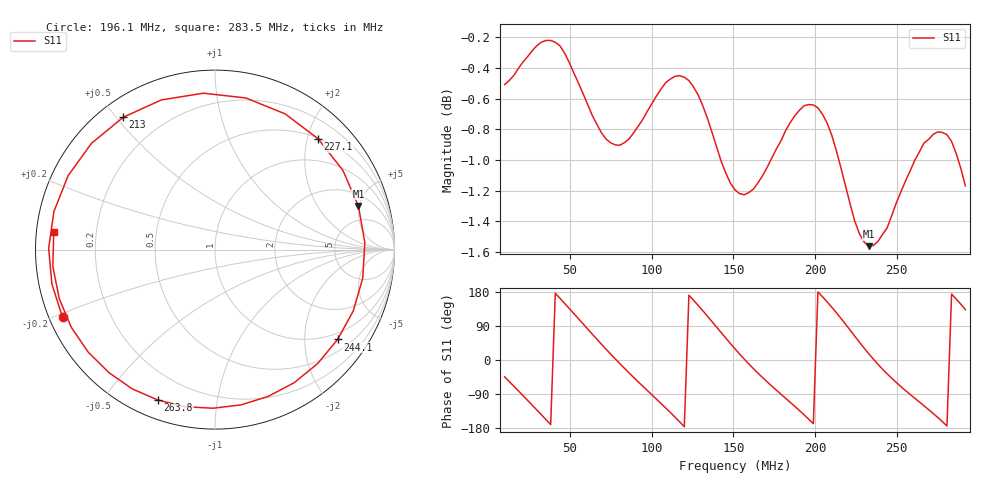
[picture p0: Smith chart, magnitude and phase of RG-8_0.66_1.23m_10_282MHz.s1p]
! File created by NanoVNA (https://gen111.taobao.com/)
! Start 10000000Hz  Stop 292000000Hz  Points 101
# HZ S MA R 50
!S - Parameter data, F S11
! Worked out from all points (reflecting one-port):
!   101 points, 10 MHz to 292 MHz, reference 50 ohm
!   lowest |S11| = -1.6 dB at 232.8 MHz (marker M1), VSWR 11.15, Z = 152 + j245 ohm
!   phase of S11 starts at -44 deg and turns -1263 deg over the sweep
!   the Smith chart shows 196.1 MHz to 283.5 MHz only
!   S11 on the Smith chart (normalised r, x): 196.1 MHz: 0.04, -0.21; 213 MHz: 0.07, +0.52; 227.1 MHz: 0.51, +2.20; 244.1 MHz: 0.81, -2.85; 263.8 MHz: 0.08, -0.69; 283.5 MHz: 0.05, +0.05
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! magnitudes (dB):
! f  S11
! 10 MHz  -0.5
! 32.56 MHz  -0.2
! 41.02 MHz  -0.2
! 46.66 MHz  -0.3
! 69.22 MHz  -0.8
! 80.5 MHz  -0.9
! 88.96 MHz  -0.8
! 108.7 MHz  -0.5
! 117.2 MHz  -0.5
! 122.8 MHz  -0.5
! 128.4 MHz  -0.6
! 142.5 MHz  -1.0
! 151 MHz  -1.2
! 156.6 MHz  -1.2
! 162.3 MHz  -1.2
! 187.7 MHz  -0.7
! 196.1 MHz  -0.6
! 204.6 MHz  -0.7
! 213 MHz  -0.9
! 221.5 MHz  -1.3
! 227.1 MHz  -1.5
! 232.8 MHz  -1.6
! 244.1 MHz  -1.4
! 258.2 MHz  -1.1
! 263.8 MHz  -0.9
! 275.1 MHz  -0.8
! 283.5 MHz  -0.9
! 292 MHz  -1.2
